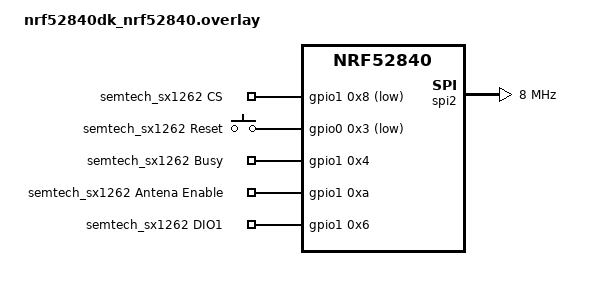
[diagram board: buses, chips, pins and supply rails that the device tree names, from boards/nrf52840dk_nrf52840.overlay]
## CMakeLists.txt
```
#
# Copyright (c) 2023 Nordic Semiconductor ASA
#
# SPDX-License-Identifier: LicenseRef-Nordic-5-Clause
#

cmake_minimum_required(VERSION 3.20.0)

set(hci_rpmsg_KCONFIG_ROOT ${CMAKE_CURRENT_SOURCE_DIR}/child_image/hci_rpmsg/Kconfig.root)
set(mcuboot_KCONFIG_ROOT ${CMAKE_CURRENT_SOURCE_DIR}/child_image/mcuboot/Kconfig.root)

if(CONF_FILE)
    get_filename_component(CONFIG_FILE_NAME ${CONF_FILE} NAME)
endif()

if("${CONFIG_FILE_NAME}" STREQUAL "prj_no_dfu.conf")
    set(PM_STATIC_YML_FILE ${CMAKE_CURRENT_SOURCE_DIR}/configuration/pm_static_no_dfu.yml)
else()
    set(PM_STATIC_YML_FILE ${CMAKE_CURRENT_SOURCE_DIR}/configuration/${BOARD}/pm_static_dfu.yml)
endif()

find_package(Zephyr REQUIRED HINTS $ENV{ZEPHYR_BASE})
project(state_machine_app)

target_sources(app PRIVATE src/main.c)
```

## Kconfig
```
#
# Copyright (c) 2022 Nordic Semiconductor ASA
#
# SPDX-License-Identifier: LicenseRef-Nordic-5-Clause
#

config SMF
    default y

config SMF_ANCESTOR_SUPPORT
    default y

config DK_LIBRARY
    default y

source "${ZEPHYR_BASE}/../sidewalk/samples/common/Kconfig.defconfig"

source "Kconfig.zephyr"
```

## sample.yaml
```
sample:
  name: Sidewalk template sample
  description: Sample implementing Amazon Sidewalk End Device
tests:
  sample.sidewalk.template:
    build_only: true
    platform_allow: nrf52840dk_nrf52840 nrf5340dk_nrf5340_cpuapp
    integration_platforms:
      - nrf52840dk_nrf52840
      - nrf5340dk_nrf5340_cpuapp
    tags: Sidewalk

  sample.sidewalk.template.release:
    build_only: true
    platform_allow: nrf52840dk_nrf52840 nrf5340dk_nrf5340_cpuapp
    extra_args: CONF_FILE=prj_release.conf
    integration_platforms:
      - nrf52840dk_nrf52840
      - nrf5340dk_nrf5340_cpuapp
    tags: Sidewalk

  sample.sidewalk.template.no_dfu:
    build_only: true
    platform_allow: nrf52840dk_nrf52840 nrf5340dk_nrf5340_cpuapp
    extra_args: CONF_FILE=prj_no_dfu.conf
    integration_platforms:
      - nrf52840dk_nrf52840
      - nrf5340dk_nrf5340_cpuapp
    tags: Sidewalk_cli
```

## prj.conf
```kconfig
#
# Copyright (c) 2023 Nordic Semiconductor ASA
#
# SPDX-License-Identifier: LicenseRef-Nordic-5-Clause
#

CONFIG_SIDEWALK=y
CONFIG_SIDEWALK_LINK_MASK_LORA=y
CONFIG_SIDEWALK_DFU=n

CONFIG_SMF=y
CONFIG_SMF_ANCESTOR_SUPPORT=y
CONFIG_DK_LIBRARY=y
CONFIG_LOG=y
CONFIG_LOG_PRINTK=y
CONFIG_LOG_BUFFER_SIZE=2048
CONFIG_NVS_LOG_LEVEL_WRN=y

CONFIG_BT_DEVICE_NAME="Sidewalk"
# CONFIG_BT_LL_SW_SPLIT=y

CONFIG_RESET_ON_FATAL_ERROR=n
```

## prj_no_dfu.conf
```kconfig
#
# Copyright (c) 2023 Nordic Semiconductor ASA
#
# SPDX-License-Identifier: LicenseRef-Nordic-5-Clause
#

# Sidewalk
CONFIG_SIDEWALK=y
CONFIG_SIDEWALK_DFU=n

# Log
CONFIG_LOG=y
CONFIG_LOG_PRINTK=y
CONFIG_LOG_BUFFER_SIZE=2048
CONFIG_NVS_LOG_LEVEL_WRN=y

# Bluetooth
CONFIG_BT_DEVICE_NAME="Sidewalk"

# Debug
CONFIG_RESET_ON_FATAL_ERROR=n
```

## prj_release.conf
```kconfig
#
# Copyright (c) 2022 Nordic Semiconductor ASA
#
# SPDX-License-Identifier: LicenseRef-Nordic-5-Clause
#

# Sidewalk
CONFIG_SIDEWALK=y

# Bluetooth
CONFIG_BT_DEVICE_NAME="Sidewalk"

# Disable peripherals
CONFIG_LOG=n
CONFIG_SERIAL=n
CONFIG_SHELL=n
CONFIG_CONSOLE=n
CONFIG_UART_CONSOLE=n
CONFIG_ASSERT=n
CONFIG_ASSERT_VERBOSE=n
CONFIG_ASSERT_NO_FILE_INFO=y
CONFIG_PRINTK_SYNC=n
CONFIG_THREAD_NAME=n

# Power Management
CONFIG_PM_DEVICE=y
```

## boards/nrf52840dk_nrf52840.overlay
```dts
/*
 * Copyright (c) 2023 Nordic Semiconductor ASA
 *
 * SPDX-License-Identifier: LicenseRef-Nordic-5-Clause
 */

&spi3 {
	status = "disabled";
};

sid_semtech: &spi2 {
	compatible = "nordic,nrf-spim";
	status = "okay";
	pinctrl-0 = <&spi2_default>;
	pinctrl-1 = <&spi2_sleep>;
	pinctrl-names = "default", "sleep";
	clock-frequency = <DT_FREQ_M(8)>;
};

/{
	semtech_sx1262_gpios{
		compatible = "gpio-keys";
		semtech_sx1262_cs: cs {
			gpios = <&gpio1 0x8 GPIO_ACTIVE_LOW>;
			label = "semtech_sx1262 CS";
		};
		semtech_sx1262_reset_gpios: reset {
			gpios = <&gpio0 0x3 GPIO_ACTIVE_LOW>;
			label = "semtech_sx1262 Reset";
		};
		semtech_sx1262_busy_gpios: busy {
			gpios = <&gpio1 0x4 GPIO_ACTIVE_HIGH>;
			label = "semtech_sx1262 Busy";
		};
		semtech_sx1262_antenna_enable_gpios: antena_enable {
			gpios = <&gpio1 0xa GPIO_ACTIVE_HIGH>;
			label = "semtech_sx1262 Antena Enable";
		};
		semtech_sx1262_dio1_gpios: dio1 {
			gpios = <&gpio1 0x6 GPIO_ACTIVE_HIGH>;
			label = "semtech_sx1262 DIO1";
		};
	};
};

&spi2_default {
	group1 {
		psels = <NRF_PSEL(SPIM_SCK, 1, 15)>,
		        <NRF_PSEL(SPIM_MISO, 1, 14)>,
		        <NRF_PSEL(SPIM_MOSI, 1, 13)>;
	};
};

&spi2_sleep {
	group1 {
		psels = <NRF_PSEL(SPIM_SCK, 1, 15)>,
		        <NRF_PSEL(SPIM_MISO, 1, 14)>,
		        <NRF_PSEL(SPIM_MOSI, 1, 13)>;
		low-power-enable;
	};
};

&flash0 {
	partitions {
		sidewalk_storage: partition@f8000 {
			label = "sidewalk_storage";
			reg = <0x000f8000 0x00007000>;
		};
		mfg_storage: partition@ff000 {
			label = "mfg_storage";
			reg = <0x000ff000 0x00001000>;
		};
	};
};
```

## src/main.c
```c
/*
 * Copyright (c) 2023 Nordic Semiconductor ASA
 *
 * SPDX-License-Identifier: LicenseRef-Nordic-5-Clause
 */

#include <sid_api.h>
#include <sid_hal_reset_ifc.h>
#include <pal_init.h>
#include <app_ble_config.h>
#include <app_subGHz_config.h>
#include <dk_buttons_and_leds.h>
#include <zephyr/kernel.h>
#include <zephyr/smf.h>
#include <zephyr/logging/log.h>

LOG_MODULE_REGISTER(app, CONFIG_LOG_DEFAULT_LEVEL);

static struct k_thread app_thread;
K_THREAD_STACK_DEFINE(app_thread_stack, CONFIG_SIDEWALK_THREAD_STACK_SIZE);

typedef enum app_events {
	APP_EVENT_SIDEWALK,
	APP_EVENT_ERROR,
	APP_EVENT_READY,
	APP_EVENT_NOT_READY,
	APP_EVENT_SEND,
	APP_EVENT_FACTORY_RESET,
	APP_EVENT_LINK_SWITCH
} app_event_t;

enum app_state {
	STATE_RUNNING,
	STATE_INIT,
	STATE_SIDEWALK_NOT_READY,
	STATE_SIDEWALK_CONNECTING,
	STATE_SIDEWALK_READY,
};

struct app_sm {
	struct smf_ctx ctx;
	struct k_msgq msgq;
	app_event_t event;
};

struct sid_ctx_s {
	struct app_sm sm;
	struct sid_handle *handle;
	struct sid_config config;
};

struct app_msg {
	struct sid_msg msg;
	struct sid_msg_desc desc;
};

static int app_event_send(app_event_t event);

static void state_running_run(void *o);
static void state_init_entry(void *o);
static void state_init_run(void *o);
static void state_ready_run(void *o);
static void state_not_ready_run(void *o);
static void state_connecting_entry(void *o);
static void state_connecting_run(void *o);

static const struct smf_state app_states[] = {
	[STATE_RUNNING] = SMF_CREATE_STATE(NULL, state_running_run, NULL, NULL),
	[STATE_INIT] = SMF_CREATE_STATE(state_init_entry, state_init_run, NULL,
					&app_states[STATE_RUNNING]),
	[STATE_SIDEWALK_READY] =
		SMF_CREATE_STATE(NULL, state_ready_run, NULL, &app_states[STATE_RUNNING]),
	[STATE_SIDEWALK_NOT_READY] =
		SMF_CREATE_STATE(NULL, state_not_ready_run, NULL, &app_states[STATE_RUNNING]),
	[STATE_SIDEWALK_CONNECTING] = SMF_CREATE_STATE(state_connecting_entry, state_connecting_run,
						       NULL, &app_states[STATE_RUNNING]),
};

static uint8_t echo_payload[255];
struct app_msg app_send_buffer;

uint8_t __aligned(4) msgq_buffer[CONFIG_SIDEWALK_THREAD_QUEUE_SIZE * sizeof(app_event_t)];

static struct sid_ctx_s sid_ctx;

static void on_sidewalk_event(bool in_isr, void *context)
{
	LOG_INF("%s", __func__);

	int err = app_event_send(APP_EVENT_SIDEWALK);
	if (err) {
		LOG_ERR("send event err %d", err);
	};
}

static void on_sidewalk_msg_received(const struct sid_msg_desc *msg_desc, const struct sid_msg *msg,
				     void *context)
{
	LOG_INF("%s", __func__);

	LOG_DBG("received message(type: %d, link_mode: %d, id: %u size %u)", (int)msg_desc->type,
		(int)msg_desc->link_mode, msg_desc->id, msg->size);
	LOG_HEXDUMP_INF((uint8_t *)msg->data, msg->size, "Message data: ");

	memcpy(echo_payload, msg->data, msg->size);
	app_send_buffer = (struct app_msg) {
			.msg = {
				.data = echo_payload,
				.size = msg->size,
			},
			.desc = {
				.type = SID_MSG_TYPE_NOTIFY,
				.link_type = SID_LINK_TYPE_ANY,
				.link_mode = SID_LINK_MODE_CLOUD,
			},
		};

	int err = app_event_send(APP_EVENT_SEND);
	if (err) {
		LOG_ERR("send event err %d", err);
	};
}

static void on_sidewalk_msg_sent(const struct sid_msg_desc *msg_desc, void *context)
{
	LOG_INF("%s", __func__);
	LOG_INF("sent message(type: %d, id: %u)", (int)msg_desc->type, msg_desc->id);
}

static void on_sidewalk_send_error(sid_error_t error, const struct sid_msg_desc *msg_desc,
				   void *context)
{
	LOG_INF("%s", __func__);
	LOG_ERR("failed to send message(type: %d, id: %u), err:%d", (int)msg_desc->type,
		msg_desc->id, (int)error);
}

static void on_sidewalk_factory_reset(void *context)
{
	LOG_INF("%s", __func__);

	ARG_UNUSED(context);

	LOG_INF("factory reset notification received from sid api");
	if (sid_hal_reset(SID_HAL_RESET_NORMAL)) {
		LOG_WRN("Reboot type not supported");
	}
}

static void on_sidewalk_status_changed(const struct sid_status *status, void *context)
{
	LOG_INF("%s", __func__);
	int err_event = 0;
	int err_led = 0;

	switch (status->state) {
	case SID_STATE_READY:
	case SID_STATE_SECURE_CHANNEL_READY:
		err_event = app_event_send(APP_EVENT_READY);
		err_led = dk_set_leds_state(DK_LED1_MSK | DK_LED2_MSK, DK_ALL_LEDS_MSK);
		break;
	case SID_STATE_NOT_READY:
		err_event = app_event_send(APP_EVENT_NOT_READY);
		err_led = dk_set_leds_state(DK_LED1_MSK, DK_ALL_LEDS_MSK);
		break;
	case SID_STATE_ERROR:
		err_event = app_event_send(APP_EVENT_ERROR);
		err_led = dk_set_leds_state(DK_ALL_LEDS_MSK, 0);
		break;
	default:
		LOG_ERR("sidewalk unknow state: %d", status->state);
		break;
	}

	if (err_event) {
		LOG_ERR("send event err %d", err_event);
	}

	if (err_led) {
		LOG_ERR("send led state err %d", err_led);
	}

	LOG_INF("Device %sregistered, Time Sync %s, Link status: {BLE: %s, FSK: %s, LoRa: %s}",
		(SID_STATUS_REGISTERED == status->detail.registration_status) ? "Is " : "Un",
		(SID_STATUS_TIME_SYNCED == status->detail.time_sync_status) ? "Success" : "Fail",
		(status->detail.link_status_mask & SID_LINK_TYPE_1) ? "Up" : "Down",
		(status->detail.link_status_mask & SID_LINK_TYPE_2) ? "Up" : "Down",
		(status->detail.link_status_mask & SID_LINK_TYPE_3) ? "Up" : "Down");

	for (int i = 0; i < SID_LINK_TYPE_MAX_IDX; i++) {
		enum sid_link_mode mode =
			(enum sid_link_mode)status->detail.supported_link_modes[i];

		if (mode) {
			LOG_INF("Link mode on %s = {Cloud: %s, Mobile: %s}",
				(SID_LINK_TYPE_1_IDX == i) ? "BLE" :
				(SID_LINK_TYPE_2_IDX == i) ? "FSK" :
				(SID_LINK_TYPE_3_IDX == i) ? "LoRa" :
							     "unknow",
				(mode & SID_LINK_MODE_CLOUD) ? "True" : "False",
				(mode & SID_LINK_MODE_MOBILE) ? "True" : "False");
		}
	}
}

static void state_running_run(void *o)
{
	struct sid_ctx_s *ctx = CONTAINER_OF(o, struct sid_ctx_s, sm);
	sid_error_t e = SID_ERROR_NONE;

	switch (ctx->sm.event) {
	case APP_EVENT_SIDEWALK:
		e = sid_process(ctx->handle);
		if (e) {
			LOG_ERR("sid process err %d", (int)e);
		}
		break;
	case APP_EVENT_FACTORY_RESET:
		e = sid_set_factory_reset(ctx->handle);
		if (e) {
			LOG_ERR("sid process err %d", (int)e);
		}
		break;
	case APP_EVENT_ERROR:
		LOG_ERR("sid state err %d", (int)sid_get_error(ctx->handle));
		break;
	case APP_EVENT_LINK_SWITCH:
		sid_error_t e = SID_ERROR_NONE;

		static uint32_t link_mask = SID_LINK_TYPE_1;

		switch (link_mask) {
		case SID_LINK_TYPE_1:
			link_mask = SID_LINK_TYPE_2;
			break;
		case SID_LINK_TYPE_2:
			link_mask = SID_LINK_TYPE_3;
			break;
		default:
			link_mask = SID_LINK_TYPE_1;
			break;
		}

		LOG_INF("Sidewalk link switch to 0x%x", link_mask);
		ctx->config.link_mask = link_mask;

		if (ctx->handle != NULL) {
			e = sid_deinit(ctx->handle);
			if (e) {
				LOG_ERR("sid deinit err %d", (int)e);
			}
		}

		e = sid_init(&ctx->config, &ctx->handle);
		if (e) {
			LOG_ERR("sid init err %d", (int)e);
		}

		e = sid_start(ctx->handle, link_mask);
		if (e) {
			LOG_ERR("sid start err %d", (int)e);
		}
		break;
	case APP_EVENT_READY:
	case APP_EVENT_NOT_READY:
		break;
	default:
		LOG_WRN("event: unknow %d", ctx->sm.event);
		break;
	}
}

static void state_init_entry(void *o)
{
	LOG_INF("state: init (entry)");

	struct sid_ctx_s *ctx = CONTAINER_OF(o, struct sid_ctx_s, sm);
	sid_error_t e = SID_ERROR_NONE;

	e = application_pal_init();
	if (e) {
		LOG_ERR("pal init err %d", (int)e);
	}
	e = sid_init(&ctx->config, &ctx->handle);
	if (e) {
		LOG_ERR("sid init err %d", (int)e);
	}
	e = sid_start(ctx->handle, SID_LINK_TYPE_1);
	if (e) {
		LOG_ERR("sid start err %d", (int)e);
	}
}

static void state_init_run(void *o)
{
	LOG_INF("state: init");

	struct sid_ctx_s *ctx = CONTAINER_OF(o, struct sid_ctx_s, sm);

	switch (ctx->sm.event) {
	case APP_EVENT_SIDEWALK:
	case APP_EVENT_ERROR:
		break;
	case APP_EVENT_READY:
		smf_set_state(SMF_CTX(&ctx->sm), &app_states[STATE_SIDEWALK_READY]);
		break;
	case APP_EVENT_NOT_READY:
		smf_set_state(SMF_CTX(&ctx->sm), &app_states[STATE_SIDEWALK_NOT_READY]);
		break;
	default:
		LOG_WRN("event: unknow %d", ctx->sm.event);
		break;
	}
}

static void state_not_ready_run(void *o)
{
	LOG_INF("state: not ready");

	struct sid_ctx_s *ctx = CONTAINER_OF(o, struct sid_ctx_s, sm);

	switch (ctx->sm.event) {
	case APP_EVENT_SIDEWALK:
	case APP_EVENT_NOT_READY:
	case APP_EVENT_ERROR:
		break;
	case APP_EVENT_READY:
		smf_set_state(SMF_CTX(&ctx->sm), &app_states[STATE_SIDEWALK_READY]);
		break;
	case APP_EVENT_SEND:
		smf_set_state(SMF_CTX(&ctx->sm), &app_states[STATE_SIDEWALK_CONNECTING]);
		break;
	default:
		LOG_WRN("event: unknow %d", ctx->sm.event);
		break;
	}
}

static void state_connecting_entry(void *o)
{
	LOG_INF("state: connecting (entry)");

	struct sid_ctx_s *ctx = CONTAINER_OF(o, struct sid_ctx_s, sm);
	sid_error_t e = SID_ERROR_NONE;

	e = sid_ble_bcn_connection_request(ctx->handle, true);
	if (e) {
		LOG_ERR("conn req err %d", (int)e);
		smf_set_state(SMF_CTX(&ctx->sm), &app_states[STATE_SIDEWALK_NOT_READY]);
	}
}

static void state_connecting_run(void *o)
{
	LOG_INF("state: connecting");

	struct sid_ctx_s *ctx = CONTAINER_OF(o, struct sid_ctx_s, sm);

	switch (ctx->sm.event) {
	case APP_EVENT_SIDEWALK:
	case APP_EVENT_ERROR:
		break;
	case APP_EVENT_NOT_READY:
		LOG_ERR("Connecting failed");
		smf_set_state(SMF_CTX(&ctx->sm), &app_states[STATE_SIDEWALK_NOT_READY]);
		break;
	case APP_EVENT_READY:
		smf_set_state(SMF_CTX(&ctx->sm), &app_states[STATE_SIDEWALK_READY]);
		int err = app_event_send(APP_EVENT_SEND);
		if (err) {
			LOG_ERR("send event err %d", err);
		};
		break;
	default:
		LOG_WRN("event: unknow %d", ctx->sm.event);
		break;
	}
}

static void state_ready_run(void *o)
{
	LOG_INF("state: ready");

	struct sid_ctx_s *ctx = CONTAINER_OF(o, struct sid_ctx_s, sm);
	sid_error_t e = SID_ERROR_NONE;

	switch (ctx->sm.event) {
	case APP_EVENT_SIDEWALK:
	case APP_EVENT_READY:
	case APP_EVENT_ERROR:
		break;
	case APP_EVENT_NOT_READY:
		smf_set_state(SMF_CTX(&ctx->sm), &app_states[STATE_SIDEWALK_NOT_READY]);
		break;
	case APP_EVENT_SEND:
		e = sid_put_msg(ctx->handle, &app_send_buffer.msg, &app_send_buffer.desc);
		if (e) {
			LOG_ERR("sid send err %d", (int)e);
		}
		LOG_INF("sid send (type: %d, id: %u)", (int)app_send_buffer.desc.type,
			app_send_buffer.desc.id);
		break;
	default:
		LOG_WRN("event: unknow %d", ctx->sm.event);
		break;
	}
}

static void button_changed(uint32_t button_state, uint32_t has_changed)
{
	uint32_t buttons = button_state & has_changed;
	int err = 0;

	if (buttons & DK_BTN1_MSK) {
		LOG_INF("button 1");

		static char payload[] = "hello";
		app_send_buffer = (struct app_msg){
			.msg = {
				.data = payload,
				.size = sizeof(payload),
			},
			.desc = {
				.type = SID_MSG_TYPE_NOTIFY,
				.link_type = SID_LINK_TYPE_ANY,
				.link_mode = SID_LINK_MODE_CLOUD,
			},
		};
		err = app_event_send(APP_EVENT_SEND);
	}
	if (buttons & DK_BTN2_MSK) {
		LOG_INF("button 2");
		err = app_event_send(APP_EVENT_LINK_SWITCH);
	}
	if (buttons & DK_BTN3_MSK) {
		LOG_INF("button 3");
	}
	if (buttons & DK_BTN4_MSK) {
		LOG_INF("button 4");
		err = app_event_send(APP_EVENT_FACTORY_RESET);
	}

	if (err) {
		LOG_ERR("send event err %d", err);
	};
}

static int app_event_send(app_event_t event)
{
	return k_msgq_put(&sid_ctx.sm.msgq, (void *)&event, K_NO_WAIT);
}

static void app_thread_entry(void *context, void *unused, void *unused2)
{
	LOG_INF("App");

	ARG_UNUSED(unused);
	ARG_UNUSED(unused2);

	struct sid_ctx_s *ctx = (struct sid_ctx_s *)context;

	struct sid_event_callbacks event_callbacks = {
		.context = ctx,
		.on_event = on_sidewalk_event,
		.on_msg_received = on_sidewalk_msg_received,
		.on_msg_sent = on_sidewalk_msg_sent,
		.on_send_error = on_sidewalk_send_error,
		.on_status_changed = on_sidewalk_status_changed,
		.on_factory_reset = on_sidewalk_factory_reset,
	};

	ctx->config = (struct sid_config){
		.link_mask = SID_LINK_TYPE_1,
		.callbacks = &event_callbacks,
		.time_sync_periodicity_seconds = 7200,
		.link_config = app_get_ble_config(),
		.sub_ghz_link_config = app_get_sub_ghz_config(),
	};

	k_msgq_init(&ctx->sm.msgq, msgq_buffer, sizeof(app_event_t),
		    CONFIG_SIDEWALK_THREAD_QUEUE_SIZE);
	smf_set_initial(SMF_CTX(&ctx->sm), &app_states[STATE_INIT]);

	while (1) {
		LOG_INF("waiting for event...");
		int err = k_msgq_get(&ctx->sm.msgq, &ctx->sm.event, K_FOREVER);
		if (!err) {
			if (smf_run_state(SMF_CTX(&ctx->sm))) {
				break;
			}
		} else {
			LOG_ERR("msgq err %d", err);
		}
	}

	LOG_ERR("Application failed. You should never see this message.");
}

int main(void)
{
	LOG_INF("Main");

	if (dk_buttons_init(button_changed)) {
		LOG_ERR("Cannot init buttons");
	}

	if (dk_leds_init()) {
		LOG_ERR("Cannot init leds");
	}

	(void)k_thread_create(&app_thread, app_thread_stack,
			      K_THREAD_STACK_SIZEOF(app_thread_stack), app_thread_entry, &sid_ctx,
			      NULL, NULL, CONFIG_SIDEWALK_THREAD_PRIORITY, 0, K_NO_WAIT);
	k_thread_name_set(&app_thread, "app");

	return 0;
}
```
